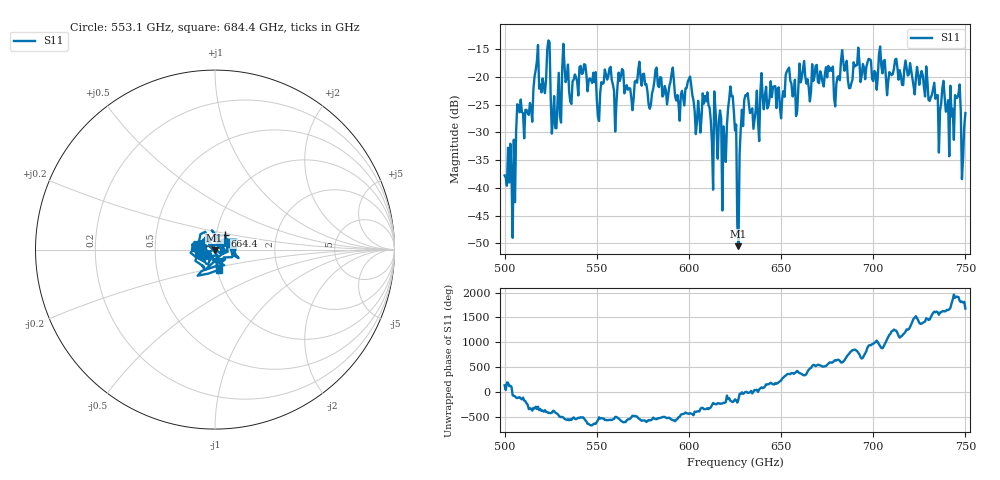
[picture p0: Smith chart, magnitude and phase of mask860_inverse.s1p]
!Created with skrf (http://scikit-rf.org).
# GHz S MA R 50.0
!freq magS11 angS11
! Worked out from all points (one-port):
!   401 points, 500 GHz to 750 GHz, reference 50 ohm
!   lowest |S11| = -50.5 dB at 626.9 GHz (marker M1), VSWR 1.01, Z = 49.8 - j0.181 ohm
!   |S11| at or under -10 dB: start of sweep to end of sweep
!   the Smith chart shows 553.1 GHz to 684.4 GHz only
!   S11 on the Smith chart (normalised r, x): 553.1 GHz: 0.85, -0.04; 664.4 GHz: 1.10, +0.17; 684.4 GHz: 1.02, -0.23
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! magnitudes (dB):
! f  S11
! 500 GHz  -37.8
! 505 GHz  -31.3
! 507.5 GHz  -25.2
! 513.8 GHz  -24.7
! 516.9 GHz  -18.7
! 520.6 GHz  -20.3
! 523.8 GHz  -13.4
! 526.9 GHz  -23.4
! 531.2 GHz  -18.5
! 553.1 GHz  -21.2
! 562.5 GHz  -20.7
! 578.8 GHz  -25.7
! 590.6 GHz  -19.3
! 593.8 GHz  -23.3
! 608.8 GHz  -23.5
! 619.4 GHz  -31.5
! 623.1 GHz  -23.5
! 625 GHz  -29.7
! 626.9 GHz  -50.5
! 631.2 GHz  -23.3
! 656.2 GHz  -23.5
! 664.4 GHz  -20.4
! 684.4 GHz  -18.9
! 687.5 GHz  -22.0
! 718.8 GHz  -19.7
! 742.5 GHz  -27.1
! 745.6 GHz  -23.7
! 750 GHz  -26.5
